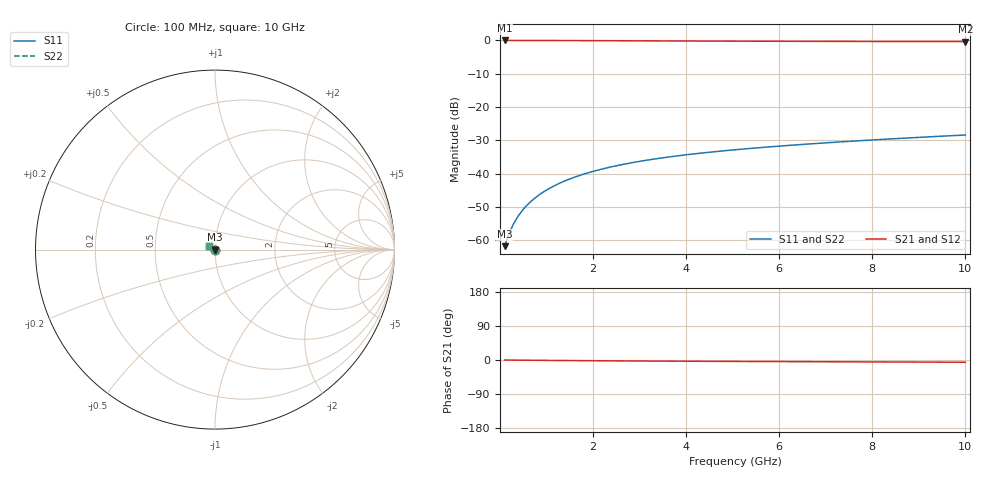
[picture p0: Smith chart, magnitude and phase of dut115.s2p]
! Touchstone file exported from HFSS 2024.1.0
!  File:  C:/UserFiles/LocalFiles/RDL_TSV_Batchsim/temp_TSV1_115_1779378197.aedt
!  Generated:  11:52:25 PM May 21, 2026
!  Design:  TSV1
!  Project:  temp_TSV1_115_1779378197
!  Setup:  Setup1
!  Solution:  Sweep
! Variables:
!  dtsv = 5.02um
!  hbump = 3um
!  htsv = 90.1um
!  lrdl = 252.1521522um
!  p = 40
!  p1 = 41.08um
!  t = 500um
!  trdl = 3um
!  wrdl = 24.89489489um
# GHz S MA R 50.000000
! Terminal data exported
! Port[1] = TSV22_T1
! Port[2] = TSV22_T2
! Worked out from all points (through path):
!   100 points, 100 MHz to 10 GHz, reference 50 ohm
!   highest |S21| = -0.01 dB at 100 MHz (marker M1); lowest = -0.3 dB at 10 GHz (marker M2)
!   lowest |S11| = -61.7 dB at 100 MHz (marker M3), VSWR 1.00, Z = 50.1 - j0.0582 ohm
!   |S11| at or under -10 dB: start of sweep to end of sweep
!   |S22| runs from -61.7 to -28.4 dB; largest |S21 - S12| = 4e-15
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0.1  0.0008176 -45.3  0.9994 -0.1  0.9994 -0.1  0.0008176 -45.3
! Gamma 0 0 0 0
! Port Impedance 50 0 50 0
0.2  0.001287 -66.0  0.9993 -0.2  0.9993 -0.2  0.001287 -66.0
0.3  0.001817 -76.4  0.9992 -0.3  0.9992 -0.3  0.001817 -76.4
0.4  0.002366 -83.0  0.999 -0.4  0.999 -0.4  0.002366 -83.0
0.5  0.002921 -87.9  0.9989 -0.5  0.9989 -0.5  0.002921 -87.9
0.6  0.003477 -91.8  0.9986 -0.6  0.9986 -0.6  0.003477 -91.8
0.7  0.004033 -95.1  0.9984 -0.7  0.9984 -0.7  0.004033 -95.1
0.8  0.004587 -98.1  0.9981 -0.8  0.9981 -0.8  0.004587 -98.1
0.9  0.005138 -100.9  0.9978 -0.9  0.9978 -0.9  0.005138 -100.9
1  0.005684 -103.5  0.9974 -1.0  0.9974 -1.0  0.005684 -103.5
1.2  0.006763 -108.3  0.9966 -1.2  0.9966 -1.2  0.006763 -108.3
1.5  0.008339 -114.8  0.9952 -1.5  0.9952 -1.5  0.008339 -114.8
1.8  0.009858 -120.9  0.9936 -1.7  0.9936 -1.7  0.009858 -120.9
2.1  0.01131 -126.6  0.9919 -2.0  0.9919 -2.0  0.01131 -126.6
2.5  0.01316 -133.7  0.9895 -2.3  0.9895 -2.3  0.01316 -133.7
2.9  0.0149 -140.4  0.9871 -2.6  0.9871 -2.6  0.0149 -140.4
3.4  0.01694 -148.0  0.984 -2.9  0.984 -2.9  0.01694 -148.0
4.2  0.01994 -159.0  0.9795 -3.3  0.9795 -3.3  0.01994 -159.0
5.1  0.02303 -169.8  0.975 -3.8  0.975 -3.8  0.02303 -169.8
6.7  0.02812 174.5  0.9688 -4.5  0.9688 -4.5  0.02812 174.5
8.4  0.03329 161.5  0.9641 -5.2  0.9641 -5.2  0.03329 161.5
10  0.0381 151.7  0.9608 -5.9  0.9608 -5.9  0.0381 151.7
